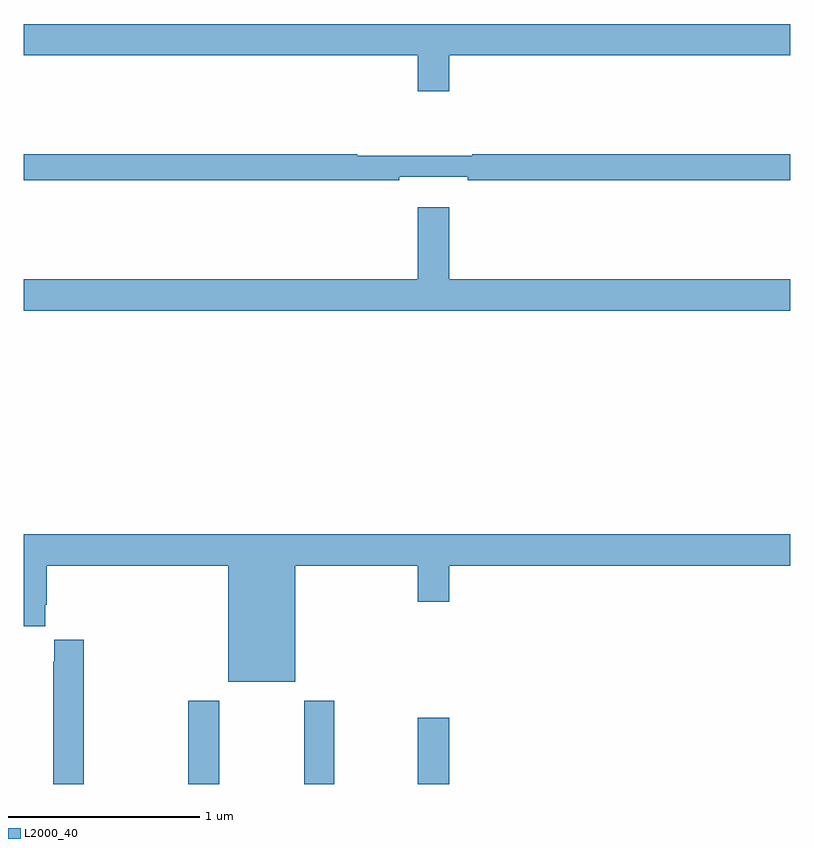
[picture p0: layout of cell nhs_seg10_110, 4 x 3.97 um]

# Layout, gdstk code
import gdstk
lib = gdstk.Library(unit=1e-6, precision=1e-09)
def R(c, l, rs):  # rectangles x0, y0, x1, y1
    for r in rs: c.add(gdstk.rectangle(r[:2], r[2:], *l))
def P(c, l, *ps):  # polygons
    for p in ps: c.add(gdstk.Polygon(p, *l))
L2000_40 = (2000, 40)

nhs_seg10_110 = lib.new_cell('nhs_seg10_110')
R(nhs_seg10_110, L2000_40, [(115.859,1308.5,116.019,1308.934), (116.464,1308.5,116.619,1308.934), (117.056,1308.5,117.22,1308.847)])
P(nhs_seg10_110, L2000_40, [(117.22,1312.304),(119,1312.304),(119,1312.468),(115,1312.468),(115,1312.304),(117.056,1312.304),(117.056,1312.116),(117.22,1312.116)],
  [(116.96,1311.671),(117.316,1311.671),(117.316,1311.652),(119,1311.652),(119,1311.788),(117.341,1311.788),(117.341,1311.781),(116.741,1311.781),(116.741,1311.788),(115,1311.788),(115,1311.652),(116.96,1311.652)],
  [(119,1311.136),(117.22,1311.136),(117.22,1311.511),(117.056,1311.511),(117.056,1311.136),(115,1311.136),(115,1310.972),(119,1310.972)],
  [(116.416,1309.64),(117.056,1309.64),(117.056,1309.452),(117.22,1309.452),(117.22,1309.64),(119,1309.64),(119,1309.804),(115,1309.804),(115,1309.323),(115.111,1309.323),(115.111,1309.435),(115.118,1309.435),(115.118,1309.64),(116.066,1309.64),(116.066,1309.034),(116.416,1309.034)],
  [(115.313,1309.252),(115.157,1309.252),(115.157,1309.139),(115.153,1309.139),(115.153,1308.5),(115.313,1308.5)])

lib.write_gds('nhs_seg10_110.gds')
